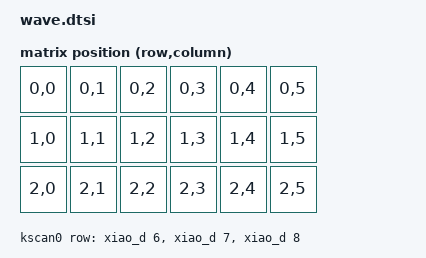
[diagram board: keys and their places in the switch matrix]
#include <dt-bindings/zmk/matrix_transform.h>

/ {
    chosen {
        zmk,physical-layout = &physical_layout0;
    };
};


/ {
    kscan0: kscan0 {
        compatible = "zmk,kscan-gpio-matrix";
        diode-direction = "col2row";
        wakeup-source;

        row-gpios
            = <&xiao_d 6 (GPIO_ACTIVE_HIGH | GPIO_PULL_DOWN)>
            , <&xiao_d 7 (GPIO_ACTIVE_HIGH | GPIO_PULL_DOWN)>
            , <&xiao_d 8 (GPIO_ACTIVE_HIGH | GPIO_PULL_DOWN)>
            ;

    };

};


/ {
    default_transform: keymap_transform0 {
        compatible = "zmk,matrix-transform";
        columns = <6>;
        rows = <3>;
        map = <
        //  LKey 1 |LKey 2 |LKey 3      RKey 1 |RKey 2 |RKey 3
            RC(0,0) RC(0,1) RC(0,2)     RC(0,3) RC(0,4) RC(0,5)
        //  LKey 4 |LKey 5 |LKey 6      RKey 4 |RKey 5 |RKey 6
            RC(1,0) RC(1,1) RC(1,2)     RC(1,3) RC(1,4) RC(1,5)
        //  LKey 7 |LKey 8 |LKey 9      RKey 7 |RKey 8 |RKey 9
            RC(2,0) RC(2,1) RC(2,2)     RC(2,3) RC(2,4) RC(2,5)
        >;
    };
};

/ {
    physical_layout0: physical_layout_0 {
        compatible = "zmk,physical-layout";
        display-name = "Default Layout";
        kscan = <&kscan0>;
        transform = <&default_transform>;
    };
};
